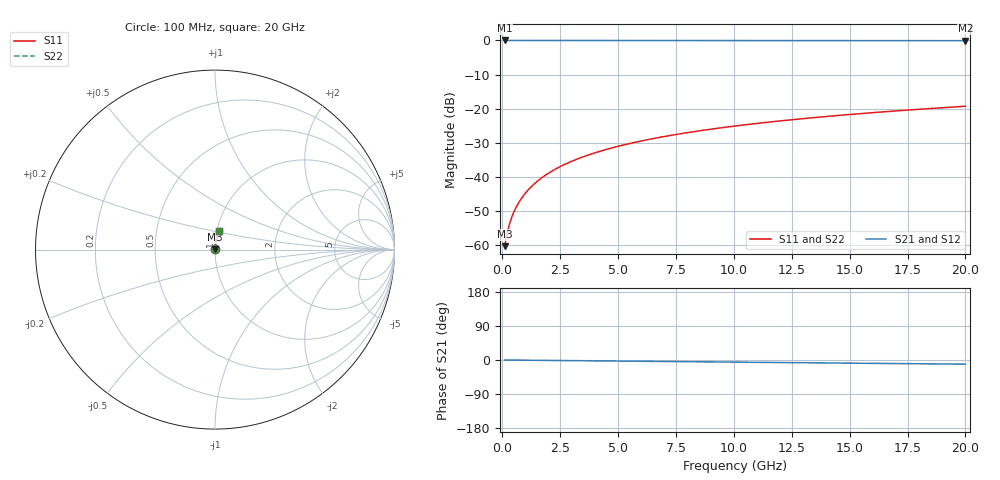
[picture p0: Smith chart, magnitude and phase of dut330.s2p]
! Touchstone file exported from HFSS 2026.1.0
!  File:  C:/ffzhzh/LocalFiles/Ansys_Project_Files/temp_train_BSMRDL_330_1783010996_46388.aedt
!  Generated:  12:51:32 AM Jul  3, 2026
!  Design:  BSMRDL
!  Project:  temp_train_BSMRDL_330_1783010996_46388
! Variables:
!  h_bsmrdl = 3.26um
!  h_ox = 20um
!  h_rdl = 5um
!  h_sub = 80um
!  h_tmrdl = 5um
!  h_tsv = 80um
!  h_via = 3um
!  l_bsmrdl = 120.7um
!  l_sub = 520.7um
!  l_tmrdl = 200um
!  m_sub = 200um
!  pitch = 53.21um
!  r_tsv = 6um
!  s_tmrdl = 10um
!  w_bsmrdl = 28.43um
!  w_sub = 500um
!  w_tmrdl = 12um
!  x_tsv_center1 = 206um
!  x_tsv_center2 = 355.13um
!  x_tsv_center3 = 567.13um
!  x_tsv_center4 = 716.26um
!  x_tsv_center5 = 928.26um
!  x_tsv_center6 = 1077.39um
# GHz S MA R 50.000000
! Terminal data exported
! Port[1] = BSM_RDL1_1_T1
! Port[2] = BSM_RDL1_1_T2
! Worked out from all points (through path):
!   200 points, 100 MHz to 20 GHz, reference 50 ohm
!   highest |S21| = -0.01 dB at 100 MHz (marker M1); lowest = -0.1 dB at 20 GHz (marker M2)
!   group delay of S21, straight-line fit = 1.53 ps
!   lowest |S11| = -60.3 dB at 100 MHz (marker M3), VSWR 1.00, Z = 50.1 + j0.0627 ohm
!   |S11| at or under -10 dB: start of sweep to end of sweep
!   |S22| runs from -60.3 to -19.3 dB; largest |S21 - S12| = 5.3e-15
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0.1  0.0009714 40.1  0.9993 -0.1  0.9993 -0.1  0.0009714 40.1
! Gamma 0 0 0 0
! Port Impedance 50 0 50 0
0.2  0.00146 57.6  0.9992 -0.1  0.9992 -0.1  0.00146 57.6
0.3  0.001994 65.5  0.9992 -0.2  0.9992 -0.2  0.001994 65.5
0.4  0.002535 70.0  0.9991 -0.2  0.9991 -0.2  0.002535 70.0
0.5  0.003077 73.0  0.9991 -0.3  0.9991 -0.3  0.003077 73.0
0.6  0.003621 75.2  0.9991 -0.3  0.9991 -0.3  0.003621 75.2
0.8  0.004716 78.1  0.9991 -0.5  0.9991 -0.5  0.004716 78.1
1.1  0.006375 80.7  0.999 -0.6  0.999 -0.6  0.006375 80.7
1.3  0.007489 81.8  0.999 -0.7  0.999 -0.7  0.007489 81.8
1.6  0.009165 82.8  0.999 -0.9  0.999 -0.9  0.009165 82.8
2.1  0.01197 83.8  0.9989 -1.2  0.9989 -1.2  0.01197 83.8
2.7  0.01533 84.4  0.9988 -1.5  0.9988 -1.5  0.01533 84.4
3.5  0.01982 84.6  0.9986 -2.0  0.9986 -2.0  0.01982 84.6
4.2  0.02372 84.6  0.9985 -2.4  0.9985 -2.4  0.02372 84.6
5  0.02818 84.4  0.9982 -2.8  0.9982 -2.8  0.02818 84.4
5.9  0.03316 84.1  0.998 -3.3  0.998 -3.3  0.03316 84.1
6.8  0.03812 83.7  0.9976 -3.8  0.9976 -3.8  0.03812 83.7
8.3  0.04633 83.1  0.9971 -4.6  0.9971 -4.6  0.04633 83.1
10.1  0.0561 82.2  0.9963 -5.6  0.9963 -5.6  0.0561 82.2
13.4  0.07383 80.6  0.9948 -7.4  0.9948 -7.4  0.07383 80.6
16.7  0.09134 79.0  0.993 -9.2  0.993 -9.2  0.09134 79.0
20  0.1087 77.3  0.991 -11.0  0.991 -11.0  0.1087 77.3
